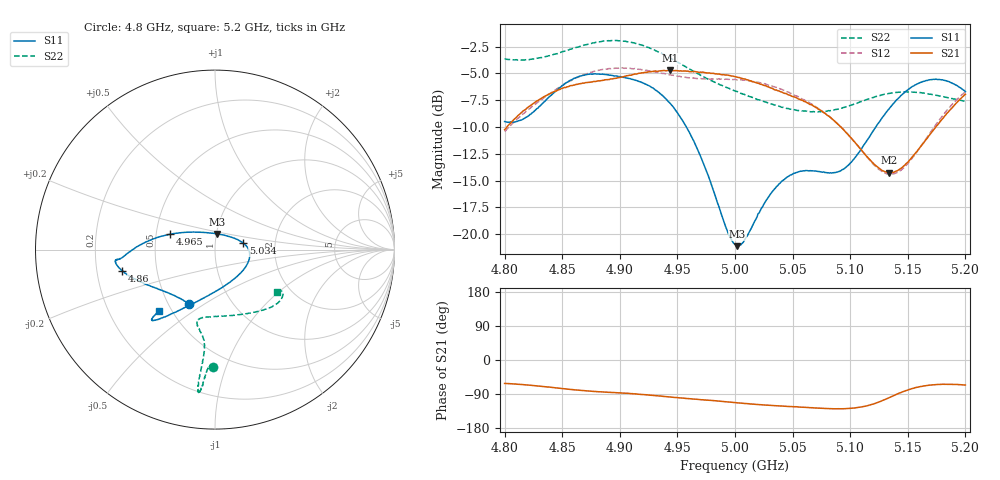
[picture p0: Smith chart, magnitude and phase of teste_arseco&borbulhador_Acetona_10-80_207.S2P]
! Network Analyzer HP8722D
! Hewlett-Packard
! Data name: Linha & Wilkinson
! Saver's name: Rodrigo Anjos
! Comments: Teste da utilização de aquisição
! continua pelo VNA HP8722D
! Time and date: 17/4/2025 16:05
!  Frequency  S11  S21  S12  S22
# HZ  S  MA R 50
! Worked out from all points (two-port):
!   401 points, 4.8 GHz to 5.2 GHz, reference 50 ohm
!   highest |S21| = -4.71 dB at 4.944 GHz (marker M1); lowest = -14.3 dB at 5.134 GHz (marker M2)
!   |S21| within 3 dB of the highest: 4.826 GHz to 5.062 GHz (236.1 MHz wide, 4.78 % of centre); 5.192633 GHz to end of sweep
!   lowest |S11| = -21.1 dB at 5.002 GHz (marker M3), VSWR 1.19, Z = 50.4 + j8.86 ohm
!   |S11| at or under -10 dB: 4.958 GHz to 5.122 GHz (164.4 MHz wide, 3.26 % of centre)
!   |S22| runs from -8.6 to -1.9 dB; largest |S21 - S12| = 0.87
!   S11 on the Smith chart (normalised r, x): 4.8 GHz: 0.63, -0.43; 4.86 GHz: 0.31, -0.10; 4.965 GHz: 0.59, +0.11; 5.034 GHz: 1.37, +0.10; 5.2 GHz: 0.43, -0.37
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4.8e9  0.3355 -115.7  0.3074 -61.9  0.3017 -176.1  0.6569 -91.0
4.819e9  0.3521 -135.9  0.3858 -65.8  0.3752 -175.3  0.6517 -92.6
4.86e9  0.5326 -167.4  0.4963 -78.4  0.5279 -178.6  0.7364 -94.9
4.867e9  0.5488 -170.1  0.5051 -80.4  0.5493 -180.0  0.7577 -95.2
4.899e9  0.5438 -174.3  0.538 -86.7  0.595 173.9  0.7987 -96.6
4.934e9  0.4582 180.0  0.5777 -95.0  0.5692 170.6  0.7066 -97.0
4.944e9  0.4061 175.4  0.5814 -97.7  0.553 170.7  0.6629 -96.6
4.965e9  0.2662 161.3  0.5742 -103.4  0.5339 172.6  0.5715 -96.0
4.993e9  0.1047 115.4  0.5529 -110.4  0.5289 174.8  0.4829 -98.5
5e9  0.09003 90.2  0.5429 -112.4  0.5281 174.9  0.4656 -100.0
5.002e9  0.08796 82.5  0.5406 -112.9  0.5242 174.9  0.4627 -100.4
5.009e9  0.09539 57.5  0.5291 -114.9  0.5234 174.6  0.4466 -101.9
5.034e9  0.1619 12.9  0.4729 -120.4  0.4872 173.5  0.4001 -103.5
5.049e9  0.1894 -1.7  0.4406 -122.8  0.453 173.0  0.3826 -99.0
5.067e9  0.1975 -20.9  0.4002 -125.8  0.4035 172.4  0.3724 -89.0
5.096e9  0.2046 -71.4  0.2997 -128.3  0.3001 174.6  0.3926 -66.4
5.121e9  0.309 -109.7  0.2116 -115.3  0.2098 -170.0  0.4365 -49.5
5.134e9  0.3864 -119.8  0.1938 -99.1  0.1903 -152.1  0.454 -43.2
5.148e9  0.463 -126.4  0.2119 -81.2  0.2078 -131.3  0.4617 -37.9
5.168e9  0.5241 -131.1  0.2863 -66.8  0.2904 -113.2  0.4506 -33.1
5.184e9  0.5179 -132.4  0.367 -64.0  0.3788 -108.3  0.4344 -32.0
5.2e9  0.4622 -132.4  0.4495 -66.1  0.4622 -108.1  0.4166 -34.5
